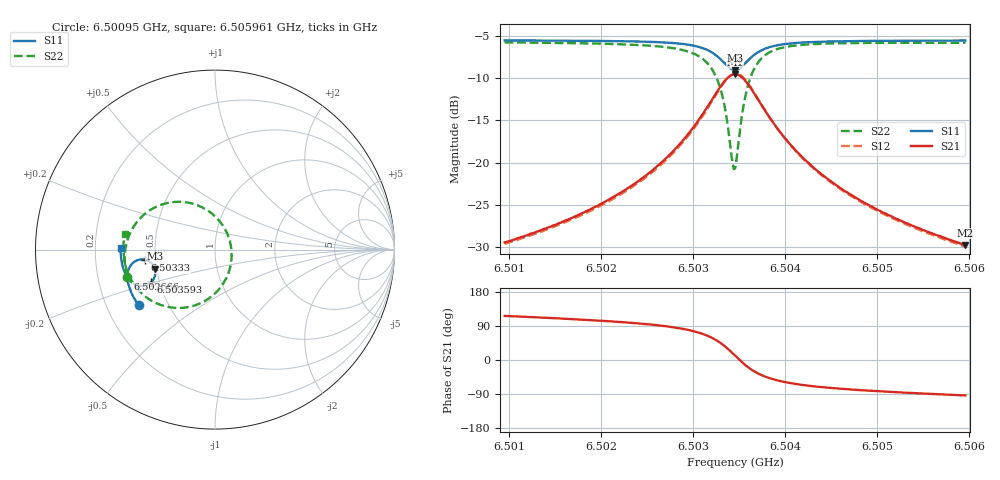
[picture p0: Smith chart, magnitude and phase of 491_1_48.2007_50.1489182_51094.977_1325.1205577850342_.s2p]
#  HZ  S  RI  R  50.00
! Rohde & Schwarz Vector Network Analyzer
! Rohde-Schwarz,ZNB20-2Port,1311601062101988,3.16
! Created: UTC 3/20/2024, 11:58:03 AM
! freq[Hz]  re:S11  im:S11  re:S21  im:S21  re:S12  im:S12  re:S22  im:S22
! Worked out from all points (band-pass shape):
!   401 points, 6.50095 GHz to 6.505961 GHz, reference 50 ohm
!   highest |S21| = -9.56 dB at 6.503455 GHz (marker M1); lowest = -29.8 dB at 6.505961 GHz (marker M2)
!   |S21| within 3 dB of the highest: 6.503206 GHz to 6.503706 GHz (500.6 kHz wide, 0.0077 % of centre)
!   lowest |S11| = -9.1 dB at 6.503455 GHz (marker M3), VSWR 2.09, Z = 24.4 - j5.91 ohm
!   |S11| at or under -10 dB: nowhere
!   |S22| runs from -20.8 to -5.8 dB; largest |S21 - S12| = 0.011
!   S11 on the Smith chart (normalised r, x): 6.50095 GHz: 0.34, -0.29; 6.502666 GHz: 0.33, -0.14; 6.50333 GHz: 0.44, -0.06; 6.503593 GHz: 0.45, -0.19; 6.505961 GHz: 0.31, +0.01
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6.50095e9  -0.4262 -0.3102  -0.0149 0.0302  -0.0132 0.0303  -0.4895 -0.1553
6.5017893e9  -0.4623 -0.2482  -0.0141 0.0479  -0.0119 0.0474  -0.5028 -0.0661
6.5022403e9  -0.4783 -0.2082  -0.0113 0.0668  -0.00862 0.0657  -0.5001 -0.00237
6.5026286e9  -0.4876 -0.1653  -0.00226 0.097  0.00124 0.0948  -0.4801 0.0751
6.5026662e9  -0.488 -0.1605  -0.000367 0.1012  0.00318 0.0988  -0.4763 0.0844
6.5029418e9  -0.484 -0.1174  0.0264 0.1439  0.0298 0.1395  -0.4206 0.1704
6.5031297e9  -0.4625 -0.0793  0.0808 0.1862  0.0829 0.1803  -0.3166 0.2435
6.5032424e9  -0.4297 -0.0584  0.1502 0.204  0.1507 0.1982  -0.1915 0.2662
6.5033301e9  -0.3889 -0.0566  0.2304 0.1879  0.2306 0.1834  -0.0531 0.2257
6.5034303e9  -0.3421 -0.0913  0.3154 0.1001  0.3183 0.096  0.0809 0.0542
6.5034554e9  -0.3357 -0.1062  0.3258 0.0675  0.3294 0.0624  0.092 -0.00662
6.5034804e9  -0.3326 -0.1221  0.3295 0.0333  0.3334 0.0272  0.0903 -0.0689
6.503543e9  -0.3397 -0.1599  0.3111 -0.0455  0.3139 -0.055  0.0341 -0.2062
6.5035932e9  -0.3561 -0.1823  0.2774 -0.0917  0.2776 -0.1025  -0.0431 -0.2782
6.5036433e9  -0.3764 -0.1956  0.2381 -0.1202  0.2357 -0.1311  -0.1253 -0.3147
6.5037059e9  -0.4011 -0.2021  0.192 -0.1369  0.187 -0.1463  -0.2162 -0.3249
6.5038687e9  -0.4478 -0.1925  0.1094 -0.1336  0.1026 -0.1387  -0.365 -0.2777
6.5040441e9  -0.4755 -0.1711  0.0644 -0.1131  0.0583 -0.1155  -0.4378 -0.2121
6.5042947e9  -0.4962 -0.1412  0.0342 -0.0887  0.0295 -0.0891  -0.4814 -0.1395
6.5046579e9  -0.5116 -0.103  0.0155 -0.0655  0.0122 -0.0653  -0.5037 -0.0666
6.505134e9  -0.5214 -0.0588  0.00517 -0.0483  0.00279 -0.0478  -0.5102 0.00132
6.5059607e9  -0.5264 0.0113  -0.00205 -0.0325  -0.00336 -0.0318  -0.5025 0.089
